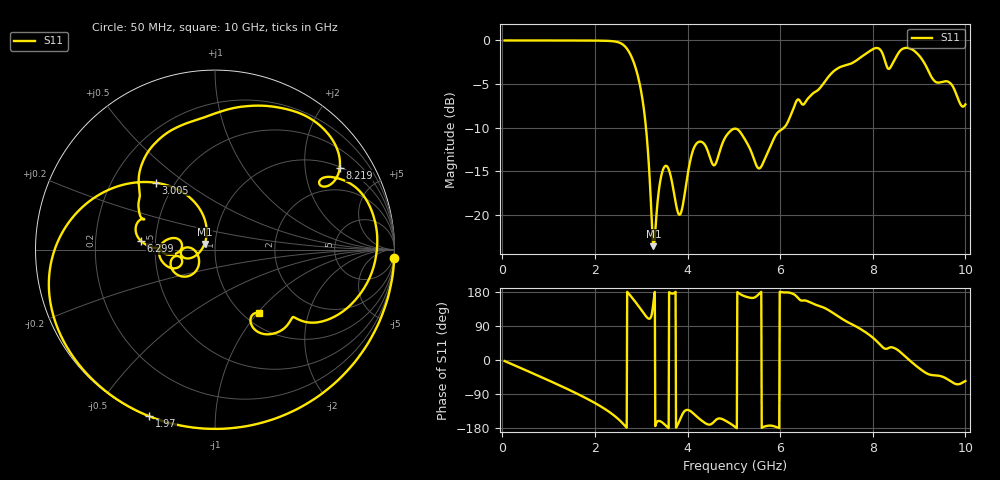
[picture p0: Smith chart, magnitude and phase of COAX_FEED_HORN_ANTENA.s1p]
! TOUCHSTONE file generated by CST MICROWAVE STUDIO
! Date and time: Mon Feb  2 20:42:17 2026
! Project name: COAX_FEED_HORN_ANTENA.cst
! Parameters = {coax_feed_dielectric_dia=4.14; coax_feed_dielectric_inside_len=15; coax_feed_offset_z=20; coax_feed_outside_dia=5; coax_feed_outside_len=5; coax_feed_pin_dia=1.27; coax_feed_pin_len_inside=17.9; horn_length=90; horn_opening_height=100; horn_opening_width=100; shield_thickness=1.6; wa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
! Header version: 2024
! Port assignment regex: !\s*Touchstone port\s*([0-9]+)\s*=\s*(CST MWS port|CST DES external port|CST DES block port)\s*(.+)\s* \(\"(.*)\"\)(\s*mode\s*([0-9]+))?.*
! Touchstone port assignment:
! Touchstone port 1 = CST MWS port 1 ("")
# GHz S DB R 50
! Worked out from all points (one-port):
!   1001 points, 50 MHz to 10 GHz, reference 50 ohm
!   lowest |S11| = -23.6 dB at 3.264 GHz (marker M1), VSWR 1.14, Z = 44.4 + j2.79 ohm
!   |S11| at or under -10 dB: 3.102 GHz to 6.081 GHz (2.978 GHz wide, 64.9 % of centre)
!   S11 on the Smith chart (normalised r, x): 50 MHz: 0, -43; 1.97 GHz: 0.00, -0.68; 3.005 GHz: 0.39, +0.39; 6.299 GHz: 0.41, +0.05; 8.219 GHz: 1.03, +3.03; 10 GHz: 1.17, -1.02
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0.05  -0.00 -2.7
0.63705  -0.00 -34.1
1.29375  -0.01 -70.2
1.97035  -0.02 -111.4
2.2788  -0.05 -134.4
2.5375  -0.27 -159.6
2.74645  -1.41 172.7
3.00515  -6.04 131.6
3.14445  -12.64 110.2
3.26385  -23.57 151.8
3.5126  -14.41 -170.9
3.78125  -19.50 -172.3
4.17925  -11.91 -147.0
4.57725  -14.31 -162.3
5.025  -10.10 -176.3
5.55235  -14.66 175.4
6.26875  -8.05 175.1
6.2986  -7.64 173.4
7.04485  -4.15 131.6
7.5125  -2.69 96.5
7.96025  -1.13 63.1
8.21895  -1.61 33.2
8.3881  -3.03 33.6
8.55725  -1.42 24.8
8.75625  -0.86 3.3
9.13435  -2.78 -33.2
9.71145  -5.12 -58.4
10  -7.33 -55.4
